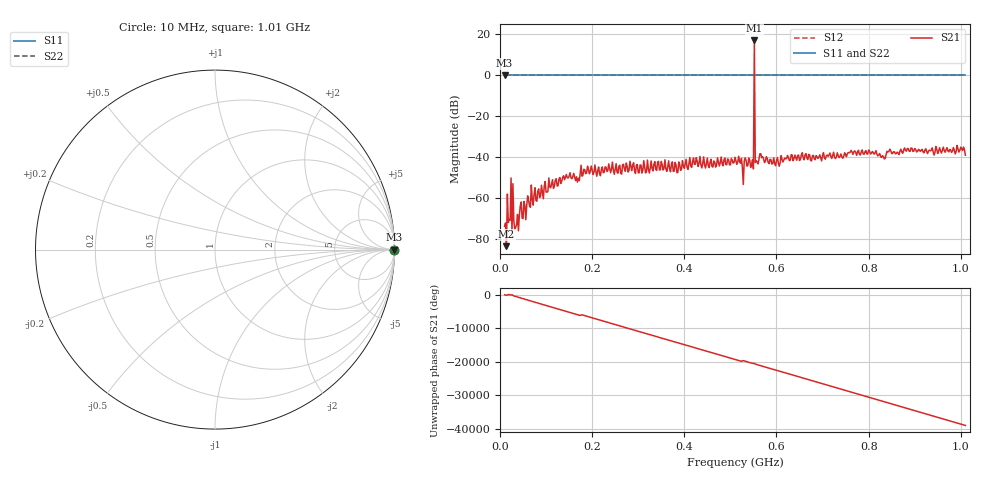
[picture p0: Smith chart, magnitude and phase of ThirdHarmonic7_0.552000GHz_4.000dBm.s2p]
! 8/17/2025 4:46:52 PM
! C:\ANRITSUVNA\TEMP\TEMP.S2P
! CHANNEL.1
! TR.MEASUREMENT
! RAW.DATA
! RF.CORRECTION.OFF
! AVERAGING.OFF
! IF.BANDWIDTH: 5KHZ
! SWEEPTYPE:  FREQ.SWEEP(Linear)
! Reference Plane Port Info
! PORT:  PORT1  PORT2
! DISTANCE:  0  m  0  m
! TIME:  0  s  0  s
! PHASE.OFFSET:  0  deg.  0  deg.
! LOSS:  0  dB  0  dB
! REF.LOSS:  0  dB  0  dB
! REF.FREQ:  0  Hz  0  Hz
! Power Info
! POWER:  -20  dBm  -20  dBm
! EFF.POWER:  -20  dBm  -20  dBm
! SOURCE.ATTEN:  0  dB  0  dB
! TEST.ATTEN:  0  dB  0  dB
# GHZ S RI R 50.0
! FREQ.GHZ  S11RE  S11IM  S21RE  S21IM  S12RE  S12IM  S22RE  S22IM
!; PortSelection: Port_12
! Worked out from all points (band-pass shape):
!   501 points, 10 MHz to 1.01 GHz, reference 50 ohm
!   highest |S21| = 17.01 dB at 552 MHz (marker M1); lowest = -83.5 dB at 14 MHz (marker M2)
!   |S21| within 3 dB of the highest: 551.9044 MHz to 552.1006 MHz (196.2 kHz wide, 0.0355 % of centre)
!   lowest |S11| = 0.0 dB at 10 MHz (marker M3)
!   |S11| at or under -10 dB: nowhere
!   |S22| runs from 0.0 to 0.0 dB; largest |S21 - S12| = 6.9
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0.01  1 0  0.000131 0.000156  1 0  1 0
0.014  1 0  4.14e-05 -5.25e-05  1 0  1 0
0.018  1 0  -0.000177 0.00018  1 0  1 0
0.02  1 0  -0.000241 0.00018  1 0  1 0
0.022  1 0  0.000189 0.000216  1 0  1 0
0.028  1 0  -0.000197 -0.00224  1 0  1 0
0.036  1 0  -3.06e-05 -0.000223  1 0  1 0
0.042  1 0  0.000216 -0.000308  1 0  1 0
0.072  1 0  -0.000671 -1.87e-05  1 0  1 0
0.178  1 0  -0.00329 -0.000949  1 0  1 0
0.344  1 0  0.00779 -0.00109  1 0  1 0
0.51  1 0  -0.0095 -0.00287  1 0  1 0
0.546  1 0  -0.00615 -0.00249  1 0  1 0
0.548  1 0  -0.00389 0.00767  1 0  1 0
0.552  1 0  1.865 6.837  1 0  1 0
0.556  1 0  -0.008 0.00194  1 0  1 0
0.558  1 0  0.0023 0.00721  1 0  1 0
0.678  1 0  0.0064 -0.00852  1 0  1 0
0.766  1 0  0.0116 0.00135  1 0  1 0
0.832  1 0  -0.00656 -0.00804  1 0  1 0
0.844  1 0  -0.00791 0.0113  1 0  1 0
1.01  1 0  0.000876 -0.0111  1 0  1 0
